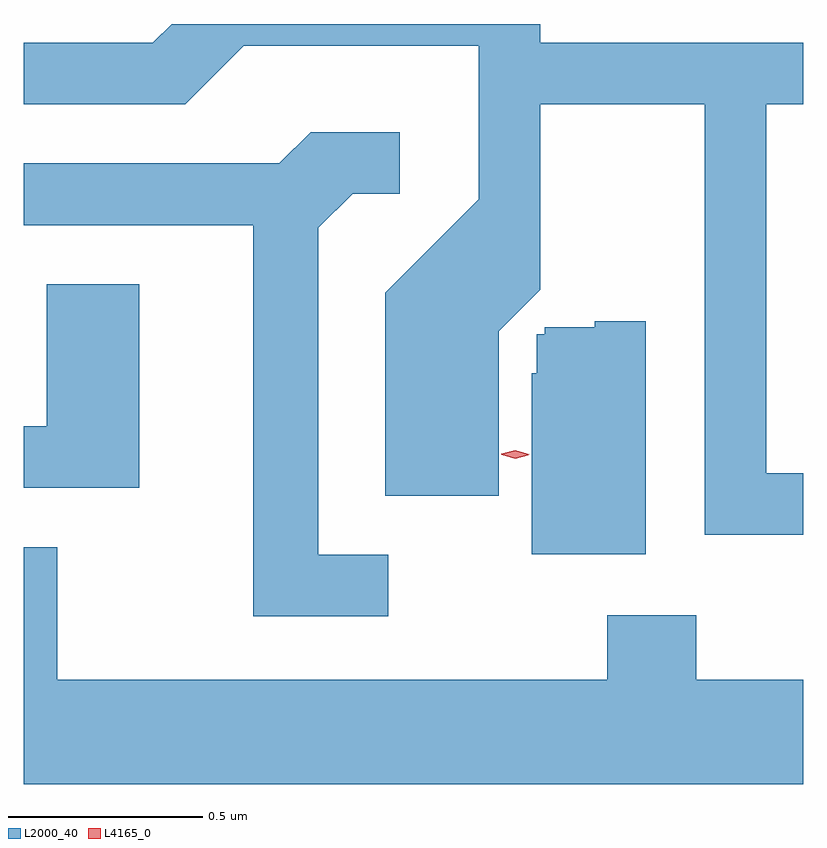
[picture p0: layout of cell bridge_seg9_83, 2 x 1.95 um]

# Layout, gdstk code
import gdstk
lib = gdstk.Library(unit=1e-6, precision=1e-09)
def P(c, l, *ps):  # polygons
    for p in ps: c.add(gdstk.Polygon(p, *l))
L2000_40 = (2000, 40)
L4165_0 = (4165, 0)

bridge_seg9_83 = lib.new_cell('bridge_seg9_83')
P(bridge_seg9_83, L2000_40, [(1912.413,2010.374),(1912.319,2010.374),(1912.319,2011.321),(1912.413,2011.321),(1912.413,2011.479),(1911.739,2011.479),(1911.739,2011.527),(1910.792,2011.527),(1910.744,2011.479),(1910.413,2011.479),(1910.413,2011.321),(1910.827,2011.321),(1910.977,2011.471),(1911.581,2011.471),(1911.581,2011.077),(1911.341,2010.837),(1911.341,2010.316),(1911.632,2010.316),(1911.632,2010.738),(1911.739,2010.845),(1911.739,2011.321),(1912.161,2011.321),(1912.161,2010.216),(1912.413,2010.216)],
  [(1911.348,2010.164),(1911.169,2010.164),(1911.169,2011.004),(1911.257,2011.091),(1911.378,2011.091),(1911.378,2011.249),(1911.149,2011.249),(1911.069,2011.169),(1910.413,2011.169),(1910.413,2011.011),(1911.001,2011.011),(1911.001,2010.006),(1911.348,2010.006)],
  [(1910.709,2010.859),(1910.471,2010.859),(1910.471,2010.494),(1910.413,2010.494),(1910.413,2010.336),(1910.709,2010.336)],
  [(1912.009,2010.764),(1911.878,2010.764),(1911.878,2010.748),(1911.75,2010.748),(1911.75,2010.73),(1911.73,2010.73),(1911.73,2010.63),(1911.716,2010.63),(1911.716,2010.166),(1912.009,2010.166)],
  [(1912.413,2009.844),(1912.139,2009.844),(1912.139,2010.009),(1911.911,2010.009),(1911.911,2009.844),(1910.499,2009.844),(1910.499,2010.184),(1910.413,2010.184),(1910.413,2009.576),(1912.413,2009.576)])
P(bridge_seg9_83, L4165_0, [(1911.674,2010.411),(1911.64,2010.421),(1911.64,2010.421),(1911.64,2010.422),(1911.674,2010.431),(1911.707,2010.421),(1911.707,2010.421),(1911.707,2010.42)],
  [(1911.674,2010.414),(1911.638,2010.423),(1911.638,2010.424),(1911.638,2010.424),(1911.674,2010.433),(1911.71,2010.423),(1911.71,2010.423),(1911.71,2010.422)])

lib.write_gds('bridge_seg9_83.gds')
